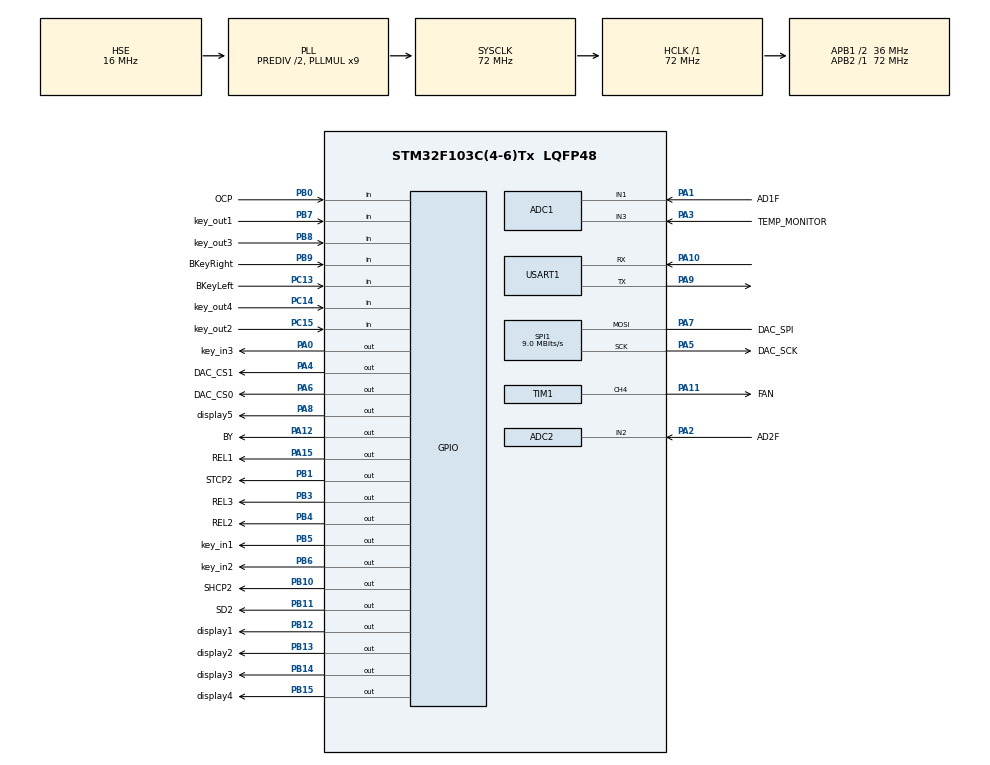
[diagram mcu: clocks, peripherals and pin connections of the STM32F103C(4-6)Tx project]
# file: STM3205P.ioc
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ADC1.Channel-0\#ChannelRegularConversion=ADC_CHANNEL_1
ADC1.ContinuousConvMode=DISABLE
ADC1.ExternalTrigConv=ADC_SOFTWARE_START
ADC1.Mode=ADC_DUALMODE_REGSIMULT_ALTERTRIG
ADC1.NbrOfConversion=1
ADC1.NbrOfConversionFlag=1
ADC1.Rank-0\#ChannelRegularConversion=1
ADC1.SamplingTime-0\#ChannelRegularConversion=ADC_SAMPLETIME_1CYCLE_5
ADC1.master=1
ADC2.Channel-0\#ChannelRegularConversion=ADC_CHANNEL_2
ADC2.ContinuousConvMode=DISABLE
ADC2.Mode=ADC_DUALMODE_REGSIMULT_ALTERTRIG
ADC2.NbrOfConversionFlag=1
ADC2.Rank-0\#ChannelRegularConversion=1
ADC2.SamplingTime-0\#ChannelRegularConversion=ADC_SAMPLETIME_1CYCLE_5
Mcu.Family=STM32F1
Mcu.Name=STM32F103C(4-6)Tx
Mcu.Package=LQFP48
NVIC.ADC1_2_IRQn=true\:0\:0\:false\:false\:true\:true\:true\:true
NVIC.PriorityGroup=NVIC_PRIORITYGROUP_4
NVIC.TIM2_IRQn=true\:0\:0\:false\:false\:true\:true\:true\:true
NVIC.TIM3_IRQn=true\:0\:0\:false\:false\:true\:true\:true\:true
PA0-WKUP.GPIO_Label=key_in3
PA0-WKUP.GPIO_Speed=GPIO_SPEED_FREQ_HIGH
PA0-WKUP.Signal=GPIO_Output
PA1.GPIO_Label=AD1F
PA1.Signal=ADCx_IN1
PA10.Mode=Asynchronous
PA10.Signal=USART1_RX
PA11.GPIO_Label=FAN
PA11.Signal=S_TIM1_CH4
PA12.GPIO_Label=BY
PA12.Signal=GPIO_Output
PA13.Mode=Serial_Wire
PA13.Signal=SYS_JTMS-SWDIO
PA14.Mode=Serial_Wire
PA14.Signal=SYS_JTCK-SWCLK
PA15.GPIO_Label=REL1
PA15.Signal=GPIO_Output
PA2.GPIO_Label=AD2F
PA2.Signal=ADCx_IN2
PA3.GPIO_Label=TEMP_MONITOR
PA3.Signal=ADCx_IN3
PA4.GPIO_Label=DAC_CS1
PA4.Signal=GPIO_Output
PA5.GPIO_Label=DAC_SCK
PA5.Mode=Simplex_Bidirectional_Master
PA5.Signal=SPI1_SCK
PA6.GPIO_Label=DAC_CS0
PA6.Signal=GPIO_Output
PA7.GPIO_Label=DAC_SPI
PA7.Mode=Simplex_Bidirectional_Master
PA7.Signal=SPI1_MOSI
PA8.GPIO_Label=display5
PA8.GPIO_Speed=GPIO_SPEED_FREQ_HIGH
PA8.Signal=GPIO_Output
PA9.Mode=Asynchronous
PA9.Signal=USART1_TX
PB0.GPIO_Label=OCP
PB0.GPIO_PuPd=GPIO_PULLDOWN
PB0.Signal=GPIO_Input
PB1.GPIO_Label=STCP2
PB1.GPIO_Speed=GPIO_SPEED_FREQ_HIGH
PB1.Signal=GPIO_Output
PB10.GPIO_Label=SHCP2
PB10.GPIO_Speed=GPIO_SPEED_FREQ_HIGH
PB10.Signal=GPIO_Output
PB11.GPIO_Label=SD2
PB11.GPIO_Speed=GPIO_SPEED_FREQ_HIGH
PB11.Signal=GPIO_Output
PB12.GPIO_Label=display1
PB12.GPIO_Speed=GPIO_SPEED_FREQ_HIGH
PB12.Signal=GPIO_Output
PB13.GPIO_Label=display2
PB13.GPIO_Speed=GPIO_SPEED_FREQ_HIGH
PB13.Signal=GPIO_Output
PB14.GPIO_Label=display3
PB14.GPIO_Speed=GPIO_SPEED_FREQ_HIGH
PB14.Signal=GPIO_Output
PB15.GPIO_Label=display4
PB15.GPIO_Speed=GPIO_SPEED_FREQ_HIGH
PB15.Signal=GPIO_Output
PB3.GPIO_Label=REL3
PB3.GPIO_Speed=GPIO_SPEED_FREQ_LOW
PB3.Signal=GPIO_Output
PB4.GPIO_Label=REL2
PB4.Signal=GPIO_Output
PB5.GPIO_Label=key_in1
PB5.GPIO_Speed=GPIO_SPEED_FREQ_HIGH
PB5.Signal=GPIO_Output
PB6.GPIO_Label=key_in2
PB6.GPIO_Speed=GPIO_SPEED_FREQ_HIGH
PB6.Signal=GPIO_Output
PB7.GPIO_Label=key_out1
PB7.GPIO_PuPd=GPIO_PULLDOWN
PB7.Signal=GPIO_Input
PB8.GPIO_Label=key_out3
PB8.GPIO_PuPd=GPIO_PULLDOWN
PB8.Signal=GPIO_Input
PB9.GPIO_Label=BKeyRight
PB9.GPIO_PuPd=GPIO_PULLUP
PB9.Signal=GPIO_Input
PC13-TAMPER-RTC.GPIO_Label=BKeyLeft
PC13-TAMPER-RTC.GPIO_PuPd=GPIO_PULLUP
PC13-TAMPER-RTC.Signal=GPIO_Input
PC14-OSC32_IN.GPIO_Label=key_out4
PC14-OSC32_IN.GPIO_PuPd=GPIO_PULLDOWN
PC14-OSC32_IN.Signal=GPIO_Input
PC15-OSC32_OUT.GPIO_Label=key_out2
PC15-OSC32_OUT.GPIO_PuPd=GPIO_PULLDOWN
PC15-OSC32_OUT.Signal=GPIO_Input
PD0-OSC_IN.Mode=HSE-External-Oscillator
PD0-OSC_IN.Signal=RCC_OSC_IN
PD1-OSC_OUT.Mode=HSE-External-Oscillator
PD1-OSC_OUT.Signal=RCC_OSC_OUT
ProjectManager.HeapSize=0x200
ProjectManager.StackSize=0x400
ProjectManager.TargetToolchain=CMake
RCC.ADCPresc=RCC_ADCPCLK2_DIV6
RCC.AHBFreq_Value=72000000
RCC.APB1CLKDivider=RCC_HCLK_DIV2
RCC.APB1Freq_Value=36000000
RCC.APB1TimFreq_Value=72000000
RCC.APB2Freq_Value=72000000
RCC.APB2TimFreq_Value=72000000
RCC.HCLKFreq_Value=72000000
RCC.HSEDivPLL=RCC_HSE_PREDIV_DIV2
RCC.HSE_VALUE=16000000
RCC.PLLMUL=RCC_PLL_MUL9
RCC.PLLSourceVirtual=RCC_PLLSOURCE_HSE
RCC.SYSCLKFreq_VALUE=72000000
RCC.SYSCLKSource=RCC_SYSCLKSOURCE_PLLCLK
RCC.USBFreq_Value=72000000
SH.ADCx_IN1.0=ADC1_IN1,IN1
SH.ADCx_IN2.0=ADC2_IN2,IN2
SH.ADCx_IN3.0=ADC1_IN3,IN3
SH.S_TIM1_CH4.0=TIM1_CH4,PWM Generation4 CH4
SPI1.BaudRatePrescaler=SPI_BAUDRATEPRESCALER_8
SPI1.CalculateBaudRate=9.0 MBits/s
SPI1.Direction=SPI_DIRECTION_1LINE
SPI1.Mode=SPI_MODE_MASTER
SPI1.VirtualType=VM_MASTER
TIM1.Channel-PWM\ Generation4\ CH4=TIM_CHANNEL_4
TIM1.Prescaler=1
TIM2.Period=35999
TIM2.Prescaler=1
TIM2.TIM_MasterOutputTrigger=TIM_TRGO_RESET
TIM2.TIM_MasterSlaveMode=TIM_MASTERSLAVEMODE_DISABLE
TIM3.Period=35999
USART1.VirtualMode=VM_ASYNC
VP_TIM1_VS_ClockSourceINT.Mode=Internal
VP_TIM2_VS_ClockSourceINT.Mode=Internal
VP_TIM3_VS_ClockSourceINT.Mode=Internal
board=custom

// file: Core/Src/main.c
/* USER CODE BEGIN Header */
/**
 ******************************************************************************
 * @file           : main.c
 * @brief          : Main program body
 ******************************************************************************
 * @attention
 *
 * Copyright (c) 2026 STMicroelectronics.
 * All rights reserved.
 *
 * This software is licensed under terms that can be found in the LICENSE file
 * in the root directory of this software component.
 * If no LICENSE file comes with this software, it is provided AS-IS.
 *
 ******************************************************************************
 */
// ADC 1   -> Output Voltage Measure
// ADC 2   -> Output Current Measure
// TIM 1   -> PWM to fan control
// TIM 2   -> Periodic interrupt for display update 1ms
// TIM 3   -> Periodic interrupt for ADC Measure
// USART 1 -> Serial communication
// SPI 1   -> Communication with DAC8830

/* USER CODE END Header */
#include "main.h"

/* USER CODE BEGIN Includes */
#include "DAC8830.h"
#include "RingBuffer.h"
#include "button.h"
#include "display.h"
#include "flash.h"
#include "keyboard.h"
#include "led_indicator.h"
#include "stm32f1xx_hal.h"
#include "stm32f1xx_hal_adc.h"

/* USER CODE END Includes */

ADC_HandleTypeDef hadc1;
ADC_HandleTypeDef hadc2;

SPI_HandleTypeDef hspi1;

TIM_HandleTypeDef htim1;
TIM_HandleTypeDef htim2;
TIM_HandleTypeDef htim3;

UART_HandleTypeDef huart1;

/* USER CODE BEGIN PV */
ADC_ChannelConfTypeDef cfgVoltageADC;
ADC_ChannelConfTypeDef cfgCurrentADC;
ADC_ChannelConfTypeDef cfgTemperatureADC;

uint8_t enChangeValue = 0;
uint8_t digitToChange = 0;
uint32_t startBlink = 0;

uint8_t outputState = 0;

RingBuffer_t RBVoltage;
RingBuffer_t RBCurrent;

ADC1_ChannelMode adc1_channel_mode = ADC1_CHANNEL_VOLTAGE;
uint32_t ADC_SampleCounter = 0;
uint32_t lastADCSample = 0;

/* USER CODE END PV */

void SystemClock_Config(void);
static void MX_GPIO_Init(void);
static void MX_ADC1_Init(void);
static void MX_ADC2_Init(void);
static void MX_TIM1_Init(void);
static void MX_USART1_UART_Init(void);
static void MX_TIM2_Init(void);
static void MX_SPI1_Init(void);
static void MX_TIM3_Init(void);

/* USER CODE BEGIN 0 */
void HAL_TIM_PeriodElapsedCallback(TIM_HandleTypeDef *htim)
{
    if(htim->Instance == TIM1)
    {
    }
    else if(htim->Instance == TIM2)
    {
        display.frame_cnt++;
        if(display.frame_cnt % 512 == 0)
        {
            display.blink_state = !display.blink_state;
        }

        if(display.frame_cnt % 10 == 0)
        {
            HAL_ADC_Start_IT(&hadc1); // Start ADC1 with interruption
            HAL_ADC_Start_IT(&hadc2); // Start ADC2 with interruption
        }

        if((display.frame_cnt + 5) % 100 == 0)
        {
            HAL_ADC_ConfigChannel(&hadc1, &cfgTemperatureADC);
            adc1_channel_mode = ADC1_CHANNEL_TEMPERATURE;
        }

        if((display.frame_cnt + 6) % 100 == 0)
        {
            HAL_ADC_ConfigChannel(&hadc1, &cfgVoltageADC);
            adc1_channel_mode = ADC1_CHANNEL_VOLTAGE;
        }

        if(display.beep)
        {
            display.beep_cnt++;
        }

        if(display.beep_cnt > display.beep_duration)
        {
            display.beep_cnt = 0;
            display.beep = 0;
            HAL_GPIO_WritePin(BY_GPIO_Port, BY_Pin, GPIO_PIN_RESET);
        }

        Display_Update(&display);
    }
    else if(htim->Instance == TIM3)
    {
        if(display.beep)
        {
            display.beep_phase += display.beep_increment;

            if(display.beep_phase & 0x8000)
            {
                HAL_GPIO_WritePin(
                    BY_GPIO_Port,
                    BY_Pin,
                    GPIO_PIN_SET);
            }
            else
            {
                HAL_GPIO_WritePin(
                    BY_GPIO_Port,
                    BY_Pin,
                    GPIO_PIN_RESET);
            }
        }
    }
}

void HAL_ADC_ConvCpltCallback(ADC_HandleTypeDef *hadc)
{
    if(hadc->Instance == ADC1)
    {
        uint16_t value1 = HAL_ADC_GetValue(&hadc1);
        if(adc1_channel_mode == ADC1_CHANNEL_VOLTAGE)
        {
            // RingBuffer_Put(&RBVoltage, (RBDataType)value1);
            measuredData.Voltage = value1;
        }
        else if(adc1_channel_mode == ADC1_CHANNEL_TEMPERATURE)
        {
            // RingBuffer_Put(&RBTemperature, (RBDataType)value1);
        }
        ADC_SampleCounter++;
    }
    else if(hadc->Instance == ADC2)
    {
        uint16_t value2 = HAL_ADC_GetValue(&hadc2);
        // RingBuffer_Put(&RBCurrent, (RBDataType)value2);
        measuredData.Current = value2;
    }
}

/* USER CODE END 0 */

int main(void)
{

    /* USER CODE BEGIN 1 */

    Flash_ReadSettings(&flashData);

    cfgVoltageADC.Channel = ADC_CHANNEL_1;
    cfgVoltageADC.Rank = ADC_REGULAR_RANK_1;
    cfgVoltageADC.SamplingTime = ADC_SAMPLETIME_1CYCLE_5;

    cfgCurrentADC.Channel = ADC_CHANNEL_2;
    cfgCurrentADC.Rank = ADC_REGULAR_RANK_1;
    cfgCurrentADC.SamplingTime = ADC_SAMPLETIME_1CYCLE_5;

    cfgTemperatureADC.Channel = ADC_CHANNEL_3;
    cfgTemperatureADC.Rank = ADC_REGULAR_RANK_1;
    cfgTemperatureADC.SamplingTime = ADC_SAMPLETIME_1CYCLE_5;

    /* USER CODE END 1 */

    /* MCU Configuration--------------------------------------------------------*/

    /* Reset of all peripherals, Initializes the Flash interface and the Systick. */
    HAL_Init();

    /* USER CODE BEGIN Init */
    Display_Init(&display);

    LedIndicator_Set(&display.ledM1);

    actualData.Voltage = flashData.memory1.Voltage;
    actualData.Current = flashData.memory1.Current;
    actualData.OCP = flashData.memory1.OCP;
    actualData.OVP = flashData.memory1.OVP;

    Display_PrepareDataACCX3(&display, actualData);

    // display.blink_display = 2;
    // display.blink_index = 1;

    Keyboard_Init(&Keyboard);

    /* USER CODE END Init */

    /* Configure the system clock */
    SystemClock_Config();

    /* Initialize all configured peripherals */
    MX_GPIO_Init();
    MX_ADC1_Init();
    MX_ADC2_Init();
    MX_TIM1_Init();
    MX_USART1_UART_Init();
    MX_TIM2_Init();
    MX_SPI1_Init();
    MX_TIM3_Init();
    /* USER CODE BEGIN 2 */

    HAL_ADC_ConfigChannel(&hadc1, &cfgVoltageADC);
    HAL_ADC_ConfigChannel(&hadc2, &cfgCurrentADC);
    // HAL_ADC_Start_DMA(&hadc1, (uint32_t *)ADC1_Buffer, 2);
    // HAL_ADC_Start_DMA(&hadc2, (uint32_t *)ADC2_Buffer, 1);

    HAL_TIM_OC_Start(&htim2, TIM_CHANNEL_2);
    HAL_TIM_Base_Start_IT(&htim2); // Timer with interruption
    HAL_TIM_Base_Start_IT(&htim3); // Timer with interruption

    /* USER CODE END 2 */

    /* Infinite loop */
    /* USER CODE BEGIN WHILE */
    while(1)
    {
        Keyboard_Read(&Keyboard, display.frame_cnt);

        if(outputState)
        {
            if(lastADCSample != ADC_SampleCounter)
            {
                lastADCSample = ADC_SampleCounter;
                Display_PrepareDataACCX3(&display, measuredData);
            }

            if(Button_KeyUpEvent(&Keyboard.OCP))
            {
                measuredData.OCP = !measuredData.OCP;
                LedIndicator_WriteValue(&display.ledOCP, measuredData.OCP);
                if(flashData.beep)
                {
                    Buzzer_Play(&display, BUZZER_TONE_A4, 100);
                }
            }

            if(Button_KeyUpEvent(&Keyboard.OVP))
            {
                measuredData.OVP = !measuredData.OVP;
                LedIndicator_WriteValue(&display.ledOVP, measuredData.OVP);
                if(flashData.beep)
                {
                    Buzzer_Play(&display, BUZZER_TONE_A4, 100);
                }
            }
        }
        else
        {
            if(Button_KeyUpEvent(&Keyboard.M1))
            {
                enChangeValue = false;
                display.blink_display = 0;
                Display_ClearMemoryLeds(&display);
                LedIndicator_Set(&display.ledM1);
                // LedIndicator_Blink(&display.ledM1, display.frame_cnt);
                actualData = flashData.memory1;
                Display_PrepareDataACCX3(&display, actualData);
                if(flashData.beep)
                {
                    Buzzer_Play(&display, BUZZER_TONE_B4, 100);
                }
            }

            if(Button_KeyPressedTimeEvent(&Keyboard.M1, display.frame_cnt, 5000))
            {
                enChangeValue = false;
                display.blink_display = 0;
                flashData.memory1 = actualData;
                Flash_WriteSettings(&flashData);
                LedIndicator_Blink(&display.ledM1, display.frame_cnt);

                if(flashData.beep)
                {
                    Buzzer_Play(&display, BUZZER_TONE_B4, 500);
                }
            }

            if(Button_KeyUpEvent(&Keyboard.M2))
            {
                enChangeValue = false;
                display.blink_display = 0;
                Display_ClearMemoryLeds(&display);
                LedIndicator_Set(&display.ledM2);
                actualData = flashData.memory2;
                Display_PrepareDataACCX3(&display, actualData);
                if(flashData.beep)
                {
                    Buzzer_Play(&display, BUZZER_TONE_C4, 100);
                }
            }

            if(Button_KeyPressedTimeEvent(&Keyboard.M2, display.frame_cnt, 5000))
            {
                enChangeValue = false;
                display.blink_display = 0;
                flashData.memory2 = actualData;
                Flash_WriteSettings(&flashData);
                LedIndicator_Blink(&display.ledM2, display.frame_cnt);

                if(flashData.beep)
                {
                    Buzzer_Play(&display, BUZZER_TONE_C4, 500);
                }
            }

            if(Button_KeyUpEvent(&Keyboard.M3))
            {
                enChangeValue = false;
                display.blink_display = 0;
                Display_ClearMemoryLeds(&display);
                LedIndicator_Set(&display.ledM3);
                actualData = flashData.memory3;
                Display_PrepareDataACCX3(&display, actualData);
                if(flashData.beep)
                {
                    Buzzer_Play(&display, BUZZER_TONE_D4, 100);
                }
            }

            if(Button_KeyPressedTimeEvent(&Keyboard.M3, display.frame_cnt, 5000))
            {
                enChangeValue = false;
                display.blink_display = 0;
                flashData.memory3 = actualData;
                Flash_WriteSettings(&flashData);
                LedIndicator_Blink(&display.ledM3, display.frame_cnt);

                if(flashData.beep)
                {
                    Buzzer_Play(&display, BUZZER_TONE_D4, 500);
                }
            }

            if(Button_KeyUpEvent(&Keyboard.M4))
            {
                enChangeValue = false;
                display.blink_display = 0;
                Display_ClearMemoryLeds(&display);
                LedIndicator_Set(&display.ledM4);
                actualData = flashData.memory4;
                Display_PrepareDataACCX3(&display, actualData);
                if(flashData.beep)
                {
                    Buzzer_Play(&display, BUZZER_TONE_E4, 100);
                }
            }

            if(Button_KeyPressedTimeEvent(&Keyboard.M4, display.frame_cnt, 5000))
            {
                enChangeValue = false;
                display.blink_display = 0;
                flashData.memory4 = actualData;
                Flash_WriteSettings(&flashData);
                LedIndicator_Blink(&display.ledM4, display.frame_cnt);

                if(flashData.beep)
                {
                    Buzzer_Play(&display, BUZZER_TONE_E4, 500);
                }
            }

            if(Button_KeyUpEvent(&Keyboard.OCP))
            {
                actualData.OCP = !actualData.OCP;
                LedIndicator_WriteValue(&display.ledOCP, actualData.OCP);
                if(flashData.beep)
                {
                    Buzzer_Play(&display, BUZZER_TONE_A4, 100);
                }
            }

            if(Button_KeyUpEvent(&Keyboard.OVP))
            {
                actualData.OVP = !actualData.OVP;
                LedIndicator_WriteValue(&display.ledOVP, actualData.OVP);
                if(flashData.beep)
                {
                    Buzzer_Play(&display, BUZZER_TONE_A4, 100);
                }
            }

            if(Button_KeyUpEvent(&Keyboard.VoltageCurrent))
            {
                if(enChangeValue)
                {
                    if(display.blink_display == 1)
                    {
                        display.blink_display = 2;
                    }
                    else
                    {
                        display.blink_display = 1;
                    }
                }
                else
                {
                    enChangeValue = true;
                    display.blink_display = 1;
                    display.blink_index = 1;
                }

                startBlink = display.frame_cnt;
                if(flashData.beep)
                {
                    Buzzer_Play(&display, BUZZER_TONE_A4, 100);
                }
            }

            if(Button_KeyUpEvent(&Keyboard.LeftArrow))
            {
                if(enChangeValue)
                {
                    if(display.blink_index > 1)
                    {
                        display.blink_index--;
                    }
                }
                startBlink = display.frame_cnt;
                if(flashData.beep)
                {
                    Buzzer_Play(&display, BUZZER_TONE_A4, 100);
                }
            }

            if(Button_KeyUpEvent(&Keyboard.RightArrow))
            {
                if(enChangeValue)
                {
                    if(display.blink_index < 4)
                    {
                        display.blink_index++;
                    }
                }
                startBlink = display.frame_cnt;
                if(flashData.beep)
                {
                    Buzzer_Play(&display, BUZZER_TONE_A4, 100);
                }
            }

            if(enChangeValue)
            {
                if(display.frame_cnt - startBlink > 10000)
                {
                    enChangeValue = false;
                    display.blink_display = 0;
                }

                if(Keyboard.DialValue != 0)
                {
                    startBlink = display.frame_cnt;
                    if(display.blink_display == 2)
                    {
                        Keyboard_ValueAdjust(&Keyboard,
                                             display.blink_index,
                                             &actualData.Voltage,
                                             VOLTAGE_LIMIT_SUPERIOR,
                                             VOLTAGE_LIMIT_INFERIOR);
                    }
                    else if(display.blink_display == 1)
                    {
                        Keyboard_ValueAdjust(&Keyboard,
                                             display.blink_index,
                                             &actualData.Current,
                                             CURRENT_LIMIT_SUPERIOR,
                                             CURRENT_LIMIT_INFERIOR);
                    }

                    Display_PrepareDataACCX3(&display, actualData);
                }
            }
        }

        if(Button_KeyPressedTimeEvent(&Keyboard.Lock, display.frame_cnt, 5000))
        {
            flashData.beep = !flashData.beep;
            Buzzer_Play(&display, BUZZER_TONE_C5, 500);
            Flash_WriteSettings(&flashData);
        }

        if(Button_KeyUpEvent(&Keyboard.OnOff))
        {
            enChangeValue = false;
            display.blink_display = 0;
            outputState = !outputState;
            LedIndicator_WriteValue(&display.ledOUT, outputState);
            measuredData.OCP = actualData.OCP;
            measuredData.OVP = actualData.OVP;

            if(outputState)
            {
                Display_PrepareDataACCX3(&display, measuredData);
            }
            else
            {
                Display_PrepareDataACCX3(&display, actualData);
            }

            if(flashData.beep)
            {
                Buzzer_Play(&display, BUZZER_TONE_B3, 100);
            }
        }

        /* USER CODE END WHILE */

    }
}

void SystemClock_Config(void)
{
    RCC_OscInitTypeDef RCC_OscInitStruct = {0};
    RCC_ClkInitTypeDef RCC_ClkInitStruct = {0};
    RCC_PeriphCLKInitTypeDef PeriphClkInit = {0};

    /** Initializes the RCC Oscillators according to the specified parameters
     * in the RCC_OscInitTypeDef structure.
     */
    RCC_OscInitStruct.OscillatorType = RCC_OSCILLATORTYPE_HSE;
    RCC_OscInitStruct.HSEState = RCC_HSE_ON;
    RCC_OscInitStruct.HSEPredivValue = RCC_HSE_PREDIV_DIV2;
    RCC_OscInitStruct.HSIState = RCC_HSI_ON;
    RCC_OscInitStruct.PLL.PLLState = RCC_PLL_ON;
    RCC_OscInitStruct.PLL.PLLSource = RCC_PLLSOURCE_HSE;
    RCC_OscInitStruct.PLL.PLLMUL = RCC_PLL_MUL9;
    if(HAL_RCC_OscConfig(&RCC_OscInitStruct) != HAL_OK)
    {
        Error_Handler();
    }

    /** Initializes the CPU, AHB and APB buses clocks
     */
    RCC_ClkInitStruct.ClockType = RCC_CLOCKTYPE_HCLK | RCC_CLOCKTYPE_SYSCLK | RCC_CLOCKTYPE_PCLK1 | RCC_CLOCKTYPE_PCLK2;
    RCC_ClkInitStruct.SYSCLKSource = RCC_SYSCLKSOURCE_PLLCLK;
    RCC_ClkInitStruct.AHBCLKDivider = RCC_SYSCLK_DIV1;
    RCC_ClkInitStruct.APB1CLKDivider = RCC_HCLK_DIV2;
    RCC_ClkInitStruct.APB2CLKDivider = RCC_HCLK_DIV1;

    if(HAL_RCC_ClockConfig(&RCC_ClkInitStruct, FLASH_LATENCY_2) != HAL_OK)
    {
        Error_Handler();
    }
    PeriphClkInit.PeriphClockSelection = RCC_PERIPHCLK_ADC;
    PeriphClkInit.AdcClockSelection = RCC_ADCPCLK2_DIV6;
    if(HAL_RCCEx_PeriphCLKConfig(&PeriphClkInit) != HAL_OK)
    {
        Error_Handler();
    }
}

static void MX_ADC1_Init(void)
{

    ADC_MultiModeTypeDef multimode = {0};
    ADC_ChannelConfTypeDef sConfig = {0};

    /** Common config
     */
    hadc1.Instance = ADC1;
    hadc1.Init.ScanConvMode = ADC_SCAN_DISABLE;
    hadc1.Init.ContinuousConvMode = DISABLE;
    hadc1.Init.DiscontinuousConvMode = DISABLE;
    hadc1.Init.ExternalTrigConv = ADC_SOFTWARE_START;
    hadc1.Init.DataAlign = ADC_DATAALIGN_RIGHT;
    hadc1.Init.NbrOfConversion = 1;
    if(HAL_ADC_Init(&hadc1) != HAL_OK)
    {
        Error_Handler();
    }

    /** Configure the ADC multi-mode
     */
    multimode.Mode = ADC_DUALMODE_REGSIMULT_ALTERTRIG;
    if(HAL_ADCEx_MultiModeConfigChannel(&hadc1, &multimode) != HAL_OK)
    {
        Error_Handler();
    }

    /** Configure Regular Channel
     */
    sConfig.Channel = ADC_CHANNEL_1;
    sConfig.Rank = ADC_REGULAR_RANK_1;
    sConfig.SamplingTime = ADC_SAMPLETIME_1CYCLE_5;
    if(HAL_ADC_ConfigChannel(&hadc1, &sConfig) != HAL_OK)
    {
        Error_Handler();
    }
}

static void MX_ADC2_Init(void)
{

    ADC_ChannelConfTypeDef sConfig = {0};

    /** Common config
     */
    hadc2.Instance = ADC2;
    hadc2.Init.ScanConvMode = ADC_SCAN_DISABLE;
    hadc2.Init.ContinuousConvMode = DISABLE;
    hadc2.Init.DiscontinuousConvMode = DISABLE;
    hadc2.Init.ExternalTrigConv = ADC_SOFTWARE_START;
    hadc2.Init.DataAlign = ADC_DATAALIGN_RIGHT;
    hadc2.Init.NbrOfConversion = 1;
    if(HAL_ADC_Init(&hadc2) != HAL_OK)
    {
        Error_Handler();
    }

    /** Configure Regular Channel
     */
    sConfig.Channel = ADC_CHANNEL_2;
    sConfig.Rank = ADC_REGULAR_RANK_1;
    sConfig.SamplingTime = ADC_SAMPLETIME_1CYCLE_5;
    if(HAL_ADC_ConfigChannel(&hadc2, &sConfig) != HAL_OK)
    {
        Error_Handler();
    }
}

static void MX_SPI1_Init(void)
{

    /* SPI1 parameter configuration*/
    hspi1.Instance = SPI1;
    hspi1.Init.Mode = SPI_MODE_MASTER;
    hspi1.Init.Direction = SPI_DIRECTION_1LINE;
    hspi1.Init.DataSize = SPI_DATASIZE_8BIT;
    hspi1.Init.CLKPolarity = SPI_POLARITY_LOW;
    hspi1.Init.CLKPhase = SPI_PHASE_1EDGE;
    hspi1.Init.NSS = SPI_NSS_SOFT;
    hspi1.Init.BaudRatePrescaler = SPI_BAUDRATEPRESCALER_8;
    hspi1.Init.FirstBit = SPI_FIRSTBIT_MSB;
    hspi1.Init.TIMode = SPI_TIMODE_DISABLE;
    hspi1.Init.CRCCalculation = SPI_CRCCALCULATION_DISABLE;
    hspi1.Init.CRCPolynomial = 10;
    if(HAL_SPI_Init(&hspi1) != HAL_OK)
    {
        Error_Handler();
    }
}

static void MX_TIM1_Init(void)
{

    TIM_ClockConfigTypeDef sClockSourceConfig = {0};
    TIM_MasterConfigTypeDef sMasterConfig = {0};
    TIM_OC_InitTypeDef sConfigOC = {0};
    TIM_BreakDeadTimeConfigTypeDef sBreakDeadTimeConfig = {0};

    htim1.Instance = TIM1;
    htim1.Init.Prescaler = 1;
    htim1.Init.CounterMode = TIM_COUNTERMODE_UP;
    htim1.Init.Period = 65535;
    htim1.Init.ClockDivision = TIM_CLOCKDIVISION_DIV1;
    htim1.Init.RepetitionCounter = 0;
    htim1.Init.AutoReloadPreload = TIM_AUTORELOAD_PRELOAD_DISABLE;
    if(HAL_TIM_Base_Init(&htim1) != HAL_OK)
    {
        Error_Handler();
    }
    sClockSourceConfig.ClockSource = TIM_CLOCKSOURCE_INTERNAL;
    if(HAL_TIM_ConfigClockSource(&htim1, &sClockSourceConfig) != HAL_OK)
    {
        Error_Handler();
    }
    if(HAL_TIM_PWM_Init(&htim1) != HAL_OK)
    {
        Error_Handler();
    }
    sMasterConfig.MasterOutputTrigger = TIM_TRGO_RESET;
    sMasterConfig.MasterSlaveMode = TIM_MASTERSLAVEMODE_DISABLE;
    if(HAL_TIMEx_MasterConfigSynchronization(&htim1, &sMasterConfig) != HAL_OK)
    {
        Error_Handler();
    }
    sConfigOC.OCMode = TIM_OCMODE_PWM1;
    sConfigOC.Pulse = 0;
    sConfigOC.OCPolarity = TIM_OCPOLARITY_HIGH;
    sConfigOC.OCFastMode = TIM_OCFAST_DISABLE;
    sConfigOC.OCIdleState = TIM_OCIDLESTATE_RESET;
    sConfigOC.OCNIdleState = TIM_OCNIDLESTATE_RESET;
    if(HAL_TIM_PWM_ConfigChannel(&htim1, &sConfigOC, TIM_CHANNEL_4) != HAL_OK)
    {
        Error_Handler();
    }
    sBreakDeadTimeConfig.OffStateRunMode = TIM_OSSR_DISABLE;
    sBreakDeadTimeConfig.OffStateIDLEMode = TIM_OSSI_DISABLE;
    sBreakDeadTimeConfig.LockLevel = TIM_LOCKLEVEL_OFF;
    sBreakDeadTimeConfig.DeadTime = 0;
    sBreakDeadTimeConfig.BreakState = TIM_BREAK_DISABLE;
    sBreakDeadTimeConfig.BreakPolarity = TIM_BREAKPOLARITY_HIGH;
    sBreakDeadTimeConfig.AutomaticOutput = TIM_AUTOMATICOUTPUT_DISABLE;
    if(HAL_TIMEx_ConfigBreakDeadTime(&htim1, &sBreakDeadTimeConfig) != HAL_OK)
    {
        Error_Handler();
    }
    HAL_TIM_MspPostInit(&htim1);
}

static void MX_TIM2_Init(void)
{

    TIM_ClockConfigTypeDef sClockSourceConfig = {0};
    TIM_MasterConfigTypeDef sMasterConfig = {0};

    htim2.Instance = TIM2;
    htim2.Init.Prescaler = 1;
    htim2.Init.CounterMode = TIM_COUNTERMODE_UP;
    htim2.Init.Period = 35999;
    htim2.Init.ClockDivision = TIM_CLOCKDIVISION_DIV1;
    htim2.Init.AutoReloadPreload = TIM_AUTORELOAD_PRELOAD_DISABLE;
    if(HAL_TIM_Base_Init(&htim2) != HAL_OK)
    {
        Error_Handler();
    }
    sClockSourceConfig.ClockSource = TIM_CLOCKSOURCE_INTERNAL;
    if(HAL_TIM_ConfigClockSource(&htim2, &sClockSourceConfig) != HAL_OK)
    {
        Error_Handler();
    }
    sMasterConfig.MasterOutputTrigger = TIM_TRGO_RESET;
    sMasterConfig.MasterSlaveMode = TIM_MASTERSLAVEMODE_DISABLE;
    if(HAL_TIMEx_MasterConfigSynchronization(&htim2, &sMasterConfig) != HAL_OK)
    {
        Error_Handler();
    }
}

static void MX_TIM3_Init(void)
{

    TIM_ClockConfigTypeDef sClockSourceConfig = {0};
    TIM_MasterConfigTypeDef sMasterConfig = {0};

    htim3.Instance = TIM3;
    htim3.Init.Prescaler = 0;
    htim3.Init.CounterMode = TIM_COUNTERMODE_UP;
    htim3.Init.Period = 35999;
    htim3.Init.ClockDivision = TIM_CLOCKDIVISION_DIV1;
    htim3.Init.AutoReloadPreload = TIM_AUTORELOAD_PRELOAD_DISABLE;
    if(HAL_TIM_Base_Init(&htim3) != HAL_OK)
    {
        Error_Handler();
    }
    sClockSourceConfig.ClockSource = TIM_CLOCKSOURCE_INTERNAL;
    if(HAL_TIM_ConfigClockSource(&htim3, &sClockSourceConfig) != HAL_OK)
    {
        Error_Handler();
    }
    sMasterConfig.MasterOutputTrigger = TIM_TRGO_RESET;
    sMasterConfig.MasterSlaveMode = TIM_MASTERSLAVEMODE_DISABLE;
    if(HAL_TIMEx_MasterConfigSynchronization(&htim3, &sMasterConfig) != HAL_OK)
    {
        Error_Handler();
    }
}

static void MX_USART1_UART_Init(void)
{

    huart1.Instance = USART1;
    huart1.Init.BaudRate = 115200;
    huart1.Init.WordLength = UART_WORDLENGTH_8B;
    huart1.Init.StopBits = UART_STOPBITS_1;
    huart1.Init.Parity = UART_PARITY_NONE;
    huart1.Init.Mode = UART_MODE_TX_RX;
    huart1.Init.HwFlowCtl = UART_HWCONTROL_NONE;
    huart1.Init.OverSampling = UART_OVERSAMPLING_16;
    if(HAL_UART_Init(&huart1) != HAL_OK)
    {
        Error_Handler();
    }
}

static void MX_GPIO_Init(void)
{
    GPIO_InitTypeDef GPIO_InitStruct = {0};

    /* GPIO Ports Clock Enable */
    __HAL_RCC_GPIOC_CLK_ENABLE();
    __HAL_RCC_GPIOD_CLK_ENABLE();
    __HAL_RCC_GPIOA_CLK_ENABLE();
    __HAL_RCC_GPIOB_CLK_ENABLE();

    /*Configure GPIO pin Output Level */
    HAL_GPIO_WritePin(GPIOA, key_in3_Pin | DAC_CS1_Pin | DAC_CS0_Pin | display5_Pin | BY_Pin | REL1_Pin, GPIO_PIN_RESET);

    /*Configure GPIO pin Output Level */
    HAL_GPIO_WritePin(GPIOB, STCP2_Pin | SHCP2_Pin | SD2_Pin | display1_Pin | display2_Pin | display3_Pin | display4_Pin | REL3_Pin | REL2_Pin | key_in1_Pin | key_in2_Pin, GPIO_PIN_RESET);

    /*Configure GPIO pin : BKeyLeft_Pin */
    GPIO_InitStruct.Pin = BKeyLeft_Pin;
    GPIO_InitStruct.Mode = GPIO_MODE_INPUT;
    GPIO_InitStruct.Pull = GPIO_PULLUP;
    HAL_GPIO_Init(BKeyLeft_GPIO_Port, &GPIO_InitStruct);

    /*Configure GPIO pins : key_out4_Pin key_out2_Pin */
    GPIO_InitStruct.Pin = key_out4_Pin | key_out2_Pin;
    GPIO_InitStruct.Mode = GPIO_MODE_INPUT;
    GPIO_InitStruct.Pull = GPIO_PULLDOWN;
    HAL_GPIO_Init(GPIOC, &GPIO_InitStruct);

    /*Configure GPIO pins : key_in3_Pin display5_Pin */
    GPIO_InitStruct.Pin = key_in3_Pin | display5_Pin;
    GPIO_InitStruct.Mode = GPIO_MODE_OUTPUT_PP;
    GPIO_InitStruct.Pull = GPIO_NOPULL;
    GPIO_InitStruct.Speed = GPIO_SPEED_FREQ_HIGH;
    HAL_GPIO_Init(GPIOA, &GPIO_InitStruct);

    /*Configure GPIO pins : DAC_CS1_Pin DAC_CS0_Pin BY_Pin REL1_Pin */
    GPIO_InitStruct.Pin = DAC_CS1_Pin | DAC_CS0_Pin | BY_Pin | REL1_Pin;
    GPIO_InitStruct.Mode = GPIO_MODE_OUTPUT_PP;
    GPIO_InitStruct.Pull = GPIO_NOPULL;
    GPIO_InitStruct.Speed = GPIO_SPEED_FREQ_LOW;
    HAL_GPIO_Init(GPIOA, &GPIO_InitStruct);

    /*Configure GPIO pins : OCP_Pin key_out1_Pin key_out3_Pin */
    GPIO_InitStruct.Pin = OCP_Pin | key_out1_Pin | key_out3_Pin;
    GPIO_InitStruct.Mode = GPIO_MODE_INPUT;
    GPIO_InitStruct.Pull = GPIO_PULLDOWN;
    HAL_GPIO_Init(GPIOB, &GPIO_InitStruct);

    /*Configure GPIO pins : STCP2_Pin SHCP2_Pin SD2_Pin display1_Pin
                             display2_Pin display3_Pin display4_Pin key_in1_Pin
                             key_in2_Pin */
    GPIO_InitStruct.Pin = STCP2_Pin | SHCP2_Pin | SD2_Pin | display1_Pin | display2_Pin | display3_Pin | display4_Pin | key_in1_Pin | key_in2_Pin;
    GPIO_InitStruct.Mode = GPIO_MODE_OUTPUT_PP;
    GPIO_InitStruct.Pull = GPIO_NOPULL;
    GPIO_InitStruct.Speed = GPIO_SPEED_FREQ_HIGH;
    HAL_GPIO_Init(GPIOB, &GPIO_InitStruct);

    /*Configure GPIO pins : REL3_Pin REL2_Pin */
    GPIO_InitStruct.Pin = REL3_Pin | REL2_Pin;
    GPIO_InitStruct.Mode = GPIO_MODE_OUTPUT_PP;
    GPIO_InitStruct.Pull = GPIO_NOPULL;
    GPIO_InitStruct.Speed = GPIO_SPEED_FREQ_LOW;
    HAL_GPIO_Init(GPIOB, &GPIO_InitStruct);

    /*Configure GPIO pin : BKeyRight_Pin */
    GPIO_InitStruct.Pin = BKeyRight_Pin;
    GPIO_InitStruct.Mode = GPIO_MODE_INPUT;
    GPIO_InitStruct.Pull = GPIO_PULLUP;
    HAL_GPIO_Init(BKeyRight_GPIO_Port, &GPIO_InitStruct);

}

void Error_Handler(void)
{
    __disable_irq();
    while(1)
    {
    }
}
